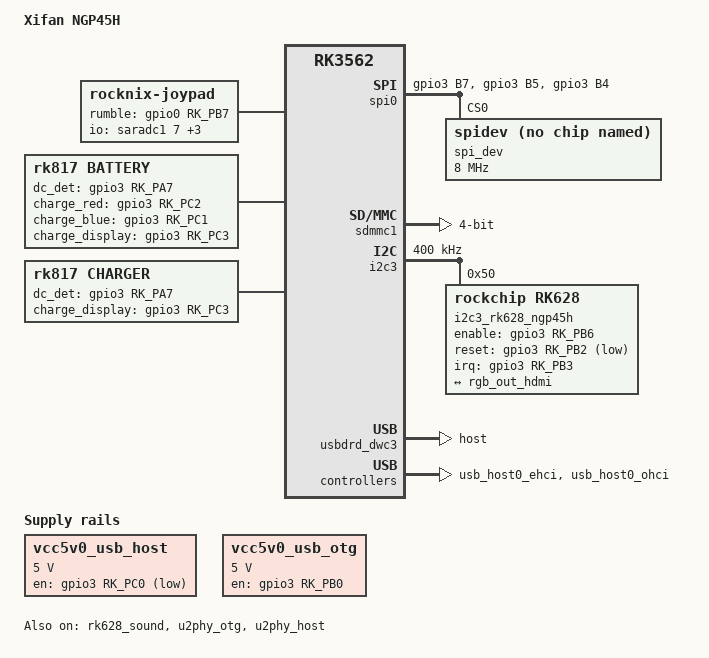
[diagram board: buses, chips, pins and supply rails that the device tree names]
// SPDX-License-Identifier: (GPL-2.0+ OR MIT)
/*
 * Copyright (c) 2024 dArkOS Contributors
 *
 * Xifan NGP45H — RK3562 gaming handheld with landscape 1024x768 DSI panel
 */

/dts-v1/;

#include "rk3562.dtsi"
#include "rk3562-linux.dtsi"
#include "rk3562-rk817.dtsi"
#include "rk3562-darkos.dtsi"

/ {
	model = "Xifan NGP45H";
	compatible = "xifan,ngp45h", "rockchip,rk3562-evb1-lp4x-v10",
		     "rockchip,rk3562";

	/*
	 * The inherited SDIO Wi-Fi description is not used on NGP45H and its
	 * control GPIOs overlap the joypad and hp-det.  The production module is
	 * an AIC8800DC USB device powered by the USB-host rail below.
	 */
	wireless-wlan {
		status = "disabled";
	};

	joypad: rocknix-joypad {
		compatible = "rocknix-joypad";
		status = "okay";

		/* Keep the standard ROCKNIX userspace identity. */
		joypad-name = "retrogame_joypad";
		joypad-product = <0x1101>;
		joypad-revision = <0x0100>;
		joypad-vendor = <0x484b>;

		/* Vendor order is LX, LY, RX, RY on SARADC1 channels 4..7. */
		io-channel-names = "key-RY", "key-RX", "key-LY", "key-LX";
		io-channels = <&saradc1 7>, <&saradc1 6>,
			      <&saradc1 5>, <&saradc1 4>;

		pinctrl-names = "default";
		pinctrl-0 = <&ngp45h_gpio_key_pin &ngp45h_rumble_pin>;
		rumble-gpio = <&gpio0 RK_PB7 GPIO_ACTIVE_HIGH>;

		/* Initial values; axis direction and tuning need real-hardware calibration. */
		button-adc-scale = <2>;
		button-adc-deadzone = <216>;
		button-adc-fuzz = <54>;
		button-adc-flat = <54>;
		abs_x-p-tuning = <180>;
		abs_x-n-tuning = <180>;
		abs_y-p-tuning = <180>;
		abs_y-n-tuning = <180>;
		abs_rx-p-tuning = <180>;
		abs_rx-n-tuning = <180>;
		abs_ry-p-tuning = <180>;
		abs_ry-n-tuning = <180>;
		invert-absy;
		invert-absry;
		poll-interval = <10>;

		/* Temporary key map: verify every GPIO and remap on the device. */
		sw1 {
			gpios = <&gpio1 RK_PD3 GPIO_ACTIVE_LOW>;
			label = "GPIO BTN_TR";
			linux,code = <BTN_TR>;
		};
		sw2 {
			gpios = <&gpio1 RK_PD4 GPIO_ACTIVE_LOW>;
			label = "GPIO BTN_TR2";
			linux,code = <BTN_TR2>;
		};
		sw3 {
			gpios = <&gpio1 RK_PD1 GPIO_ACTIVE_LOW>;
			label = "GPIO BTN_TL";
			linux,code = <BTN_TL>;
		};
		sw4 {
			gpios = <&gpio1 RK_PD2 GPIO_ACTIVE_LOW>;
			label = "GPIO BTN_TL2";
			linux,code = <BTN_TL2>;
		};
		sw5 {
			gpios = <&gpio0 RK_PC3 GPIO_ACTIVE_LOW>;
			label = "GPIO BTN-A";
			linux,code = <BTN_EAST>;
		};
		sw6 {
			gpios = <&gpio0 RK_PC5 GPIO_ACTIVE_LOW>;
			label = "GPIO BTN-B";
			linux,code = <BTN_SOUTH>;
		};
		sw7 {
			gpios = <&gpio2 RK_PA0 GPIO_ACTIVE_LOW>;
			label = "GPIO BTN-X";
			linux,code = <BTN_NORTH>;
		};
		sw8 {
			gpios = <&gpio2 RK_PA1 GPIO_ACTIVE_LOW>;
			label = "GPIO BTN-Y";
			linux,code = <BTN_WEST>;
		};
		sw9 {
			gpios = <&gpio0 RK_PB5 GPIO_ACTIVE_LOW>;
			label = "GPIO DPAD-LEFT";
			linux,code = <BTN_DPAD_LEFT>;
		};
		sw10 {
			gpios = <&gpio0 RK_PB6 GPIO_ACTIVE_LOW>;
			label = "GPIO DPAD-RIGHT";
			linux,code = <BTN_DPAD_RIGHT>;
		};
		sw11 {
			gpios = <&gpio0 RK_PB3 GPIO_ACTIVE_LOW>;
			label = "GPIO DPAD-UP";
			linux,code = <BTN_DPAD_UP>;
		};
		sw12 {
			gpios = <&gpio0 RK_PB4 GPIO_ACTIVE_LOW>;
			label = "GPIO DPAD-DOWN";
			linux,code = <BTN_DPAD_DOWN>;
		};
		sw13 {
			gpios = <&gpio0 RK_PA5 GPIO_ACTIVE_LOW>;
			label = "BTN_SELECT";
			linux,code = <BTN_SELECT>;
		};
		sw14 {
			gpios = <&gpio3 RK_PA6 GPIO_ACTIVE_LOW>;
			label = "BTN_START";
			linux,code = <BTN_START>;
		};
		sw15 {
			gpios = <&gpio1 RK_PC7 GPIO_ACTIVE_LOW>;
			label = "GPIO BTN_MODE";
			linux,code = <BTN_MODE>;
		};
		sw16 {
			gpios = <&gpio0 RK_PC6 GPIO_ACTIVE_LOW>;
			label = "BTN_THUMBL";
			linux,code = <BTN_THUMBL>;
		};
		sw17 {
			gpios = <&gpio0 RK_PC7 GPIO_ACTIVE_LOW>;
			label = "BTN_THUMBR";
			linux,code = <BTN_THUMBR>;
		};
	};

	vcc5v0_usb_host: vcc5v0-usb-host {
		compatible = "regulator-fixed";
		regulator-name = "vcc5v0_usb_host";
		regulator-min-microvolt = <5000000>;
		regulator-max-microvolt = <5000000>;
		regulator-boot-on;
		regulator-always-on;
		enable-active-low;
		gpio = <&gpio3 RK_PC0 GPIO_ACTIVE_HIGH>;
		pinctrl-names = "default";
		pinctrl-0 = <&usb_host_pwren_ngp45h>;
	};

	vcc5v0_usb_otg: vcc5v0-usb-otg {
		compatible = "regulator-fixed";
		regulator-name = "vcc5v0_usb_otg";
		regulator-min-microvolt = <5000000>;
		regulator-max-microvolt = <5000000>;
		enable-active-high;
		gpio = <&gpio3 RK_PB0 GPIO_ACTIVE_HIGH>;
		pinctrl-names = "default";
		pinctrl-0 = <&usb_otg_pwren_ngp45h>;
	};
};

/* ---- Per-device overrides ------------------------------------------------ */

/* NGP45H uses GPIO0_C7 and GPIO1_D2 as gamepad keys, not stick-LED control. */
&led_vcc {
	status = "disabled";
};

&uart1 {
	status = "disabled";
};

/*
 * The analogue-stick WS2812 LEDs are connected to SPI0 M1.  The vendor
 * pinctrl only muxes CLK and MOSI; do not use the common spi0m1_pins group,
 * since that would also claim GPIO3_C0 as MISO and conflict with USB power.
 */
&spi0 {
	pinctrl-names = "default";
	pinctrl-0 = <&spi0m1_csn0_ngp45h &spi0m1_pins_ngp45h>;
	status = "okay";

	spi_dev@0 {
		compatible = "rockchip,spidev";
		reg = <0>;
		spi-max-frequency = <8000000>;
	};
};

&sdio_pwrseq {
	status = "disabled";
};

/* GPIO0_A5 is a joypad button on NGP45H, not an SD-card power switch. */
&vcc_sd {
	status = "disabled";
};

&sdmmc0 {
	/delete-property/ vmmc-supply;
};

/* Both DW-MMC ports are wired as removable SD-card slots on the vendor DT. */
&sdmmc1 {
	/delete-property/ no-sd;
	/delete-property/ cap-sdio-irq;
	/delete-property/ keep-power-in-suspend;
	/delete-property/ mmc-pwrseq;
	/delete-property/ broken-cd;
	/delete-property/ supports-sdio;
	/delete-property/ supports-rk912;

	no-sdio;
	no-mmc;
	bus-width = <4>;
	cap-mmc-highspeed;
	cap-sd-highspeed;
	disable-wp;
	sd-uhs-sdr104;
	vqmmc-supply = <&vccio_sd>;
	pinctrl-names = "default";
	pinctrl-0 = <&sdmmc1_bus4 &sdmmc1_cmd &sdmmc1_clk &sdmmc1_det>;
	status = "okay";
};

/* NGP45H four-key resistor ladder; values are from the running vendor DT. */
&adc_keys {
	/* The vendor mapping intentionally crosses the two volume keycodes. */
	vol-up-key {
		linux,code = <KEY_VOLUMEDOWN>;
		press-threshold-microvolt = <300000>;
	};

	vol-down-key {
		linux,code = <KEY_VOLUMEUP>;
		press-threshold-microvolt = <17000>;
	};

	mute-key {
		linux,code = <KEY_MUTE>;
		label = "menu";
		press-threshold-microvolt = <600000>;
	};

	back-key {
		linux,code = <KEY_ESC>;
		label = "back";
		press-threshold-microvolt = <980000>;
	};
};

/* LCD voltage regulator — GPIO0_B0 active-high enable */
&vcc3v3_lcd_n {
	gpios = <&gpio0 RK_PB0 GPIO_ACTIVE_HIGH>;
	enable-active-high;
	pinctrl-names = "default";
	pinctrl-0 = <&lcd_powerctrl_gpio>;
	status = "okay";
};

/* DSI panel — NGP45H 1024x768 landscape panel */
&dsi {
	/* Vendor PHY rate, in Mbps per lane. */
	rockchip,lane-rate = <480>;
};

&dsi_panel {
	bpc = <8>;
	pinctrl-names = "default";
	pinctrl-0 = <&lcd_rst_gpio>;
	power-supply = <&vcc3v3_lcd_n>;
	reset-delay-ms = <100>;
	init-delay-ms = <120>;
	enable-delay-ms = <100>;
	prepare-delay-ms = <20>;
	unprepare-delay-ms = <20>;
	disable-delay-ms = <20>;

	panel-init-sequence = [
		15 00 02 ee 01
		15 00 02 ea 07
		15 00 02 eb 12
		15 00 02 0a 5e
		15 00 02 13 14
		15 00 02 17 35
		15 00 02 1d 33
		15 00 02 21 01
		15 00 02 28 28
		15 00 02 29 18
		15 00 02 2a 63
		15 00 02 2f f3
		15 00 02 ee 02
		15 00 02 39 a9
		15 00 02 00 00
		15 00 02 01 0d
		15 00 02 02 12
		15 00 02 03 08
		15 00 02 04 0e
		15 00 02 05 30
		15 00 02 06 0b
		15 00 02 07 0e
		15 00 02 08 0f
		15 00 02 09 0e
		15 00 02 0a 11
		15 00 02 0b 4e
		15 00 02 0c 14
		15 00 02 0d 1a
		15 00 02 0e 2f
		15 00 02 0f 36
		15 00 02 10 3f
		15 00 02 20 00
		15 00 02 21 0d
		15 00 02 22 12
		15 00 02 23 08
		15 00 02 24 0e
		15 00 02 25 30
		15 00 02 26 0b
		15 00 02 27 0e
		15 00 02 28 0f
		15 00 02 29 0e
		15 00 02 2a 11
		15 00 02 2b 4e
		15 00 02 2c 14
		15 00 02 2d 1a
		15 00 02 2e 2f
		15 00 02 2f 36
		15 00 02 30 3f
		15 00 02 ee 04
		15 00 02 00 05
		15 00 02 01 01
		15 00 02 02 80
		15 00 02 03 04
		15 00 02 04 00
		15 00 02 06 06
		15 00 02 07 05
		15 00 02 08 1a
		15 00 02 09 20
		15 00 02 0a 0e
		15 00 02 0b 00
		15 00 02 20 40
		15 00 02 24 08
		15 00 02 ee 05
		15 00 02 00 01
		15 00 02 01 09
		15 00 02 02 05
		15 00 02 03 05
		15 00 02 07 05
		15 00 02 08 0d
		15 00 02 09 00
		15 00 02 0a 12
		15 00 02 0b 14
		15 00 02 0c 66
		15 00 02 10 03
		15 00 02 11 07
		15 00 02 12 05
		15 00 02 13 05
		15 00 02 19 12
		15 00 02 1a f6
		15 00 02 40 55
		15 00 02 41 00
		15 00 02 43 03
		15 00 02 44 01
		15 00 02 45 81
		15 00 02 46 06
		15 00 02 47 00
		15 00 02 ee 06
		15 00 02 00 45
		15 00 02 02 01
		15 00 02 04 88
		15 00 02 06 cd
		15 00 02 08 ef
		15 00 02 09 cd
		15 00 02 0a ab
		15 00 02 0b 89
		15 00 02 0c 67
		15 00 02 0d 45
		15 00 02 0e 23
		15 00 02 0f 01
		15 00 02 ee 07
		15 00 02 00 3c
		15 00 02 01 3c
		15 00 02 02 3c
		15 00 02 03 3c
		15 00 02 04 0d
		15 00 02 05 3c
		15 00 02 06 3c
		15 00 02 07 3c
		15 00 02 08 08
		15 00 02 09 10
		15 00 02 0a 12
		15 00 02 0b 14
		15 00 02 0c 16
		15 00 02 0d 18
		15 00 02 0e 1a
		15 00 02 0f 1c
		15 00 02 10 1e
		15 00 02 11 04
		15 00 02 12 00
		15 00 02 13 3c
		15 00 02 14 0c
		15 00 02 15 3c
		15 00 02 20 3c
		15 00 02 21 3c
		15 00 02 22 3c
		15 00 02 23 3c
		15 00 02 24 0d
		15 00 02 25 3c
		15 00 02 26 3c
		15 00 02 27 3c
		15 00 02 28 08
		15 00 02 29 11
		15 00 02 2a 13
		15 00 02 2b 15
		15 00 02 2c 17
		15 00 02 2d 19
		15 00 02 2e 1b
		15 00 02 2f 1d
		15 00 02 30 1f
		15 00 02 31 05
		15 00 02 32 01
		15 00 02 33 3c
		15 00 02 34 0c
		15 00 02 35 3c
		15 00 02 ee 08
		15 00 02 10 00
		15 00 02 12 dc
		15 00 02 13 1c
		15 00 02 17 23
		15 00 02 18 20
		15 00 02 20 80
		15 00 02 ee 0f
		15 00 02 00 01
		15 00 02 01 00
		15 00 02 ee 00
		15 00 02 ea 00
		15 00 02 eb 00
		15 00 02 36 00
		05 c8 01 11
		05 14 01 29
	];
};

/*
 * Panel dimensions from the NGP45H vendor device tree.
 */
&dsi_panel {
	width-mm = <68>;
	height-mm = <121>;
};

/* Display timing from the NGP45H vendor device tree */
&dsi_timing0 {
	clock-frequency = <52000000>;
	hactive = <1024>;
	vactive = <768>;
	hfront-porch = <32>;
	hsync-len = <20>;
	hback-porch = <20>;
	vfront-porch = <8>;
	vsync-len = <4>;
	vback-porch = <6>;
	hsync-active = <0>;
	vsync-active = <0>;
	de-active = <0>;
	pixelclk-active = <0>;
};

/* RK817 codec and external speaker amplifier from the vendor tree. */
&rk817_codec {
	hp-volume = <15>;
	spk-volume = <11>;
	spk-ctl-gpios = <&gpio0 RK_PA7 GPIO_ACTIVE_HIGH>;
	/delete-property/ mic-in-differential;
	/delete-property/ hp2extamplifier;
};

&rk817_sound {
	hp-det-gpio = <&gpio0 RK_PA6 GPIO_ACTIVE_HIGH>;
	pinctrl-0 = <&hp_det_ngp45h>;
	/delete-property/ spk-con-gpios;
	/delete-property/ io-channels;
	/delete-property/ io-channel-names;
	/delete-property/ keyup-threshold-microvolt;
	/delete-property/ poll-interval;
	/delete-node/ play-pause-key;
};

/* The common board uses I2C4; NGP45H wires its RK628 to I2C3 instead. */
&i2c4 {
	status = "disabled";
};

&i2c4_rk628 {
	status = "disabled";
};

/* Disconnect the disabled common RK628 endpoint before wiring the I2C3 one. */
&rgb_in_hdmi {
	/delete-property/ remote-endpoint;
};

&i2c3 {
	status = "okay";
	clock-frequency = <400000>;

	i2c3_rk628_ngp45h: rk628@50 {
		compatible = "rockchip,rk628";
		reg = <0x50>;
		status = "okay";
		#sound-dai-cells = <0>;

		assigned-clocks = <&cru CLK_PMU1_WIFI>;
		assigned-clock-rates = <24000000>;
		clocks = <&cru CLK_PMU1_WIFI>;
		clock-names = "soc_24M";

		interrupt-parent = <&gpio3>;
		interrupts = <RK_PB3 IRQ_TYPE_LEVEL_HIGH>;
		enable-gpios = <&gpio3 RK_PB6 GPIO_ACTIVE_HIGH>;
		reset-gpios = <&gpio3 RK_PB2 GPIO_ACTIVE_LOW>;
		pinctrl-names = "default";
		pinctrl-0 = <&rk628_reset_ngp45h &refclk_pins>;

		rk628-rgb-in;
		rk628-hdmi-out;
		mode-sync-pol = <0>;

		port {
			rk628_rgb_in_ngp45h: endpoint {
				remote-endpoint = <&rgb_out_hdmi>;
			};
		};
	};
};

&rgb_out_hdmi {
	remote-endpoint = <&rk628_rgb_in_ngp45h>;
};

&route_rgb {
	bridge = <&i2c3_rk628_ngp45h>;
};

&rk628_sound {
	status = "okay";

	simple-audio-card,codec {
		sound-dai = <&i2c3_rk628_ngp45h>;
	};
};

/* NGP45H exposes both USB2 controller paths as host ports. */
&u2phy_otg {
	vbus-supply = <&vcc5v0_usb_otg>;
	status = "okay";
};

&u2phy_host {
	phy-supply = <&vcc5v0_usb_host>;
	status = "okay";
};

&usbdrd_dwc3 {
	dr_mode = "host";
	status = "okay";
};

&usb_host0_ehci {
	status = "okay";
};

&usb_host0_ohci {
	status = "okay";
};

/* RK817 PMIC — battery and charger parameters */
&rk817 {
	battery {
		compatible = "rk817,battery";
		ocv_table = <3500 3539 3608 3694 3767 3806 3829 3844
			     3856 3863 3869 3882 3930 4003 4010 4023
			     4033 4045 4059 4070 4171>;
		design_capacity = <3791>;
		design_qmax = <4000>;
		bat_res = <127>;
		design_max_voltage = <4120>;
		sleep_enter_current = <150>;
		sleep_exit_current = <180>;
		sleep_filter_current = <100>;
		power_off_thresd = <3450>;
		zero_algorithm_vol = <3950>;
		max_soc_offset = <60>;
		monitor_sec = <5>;
		sample_res = <10>;
		virtual_power = <0>;
		dc_det_gpio = <&gpio3 RK_PA7 GPIO_ACTIVE_HIGH>;
		charge_red_gpio = <&gpio3 RK_PC2 GPIO_ACTIVE_HIGH>;
		charge_blue_gpio = <&gpio3 RK_PC1 GPIO_ACTIVE_HIGH>;
		charge_display_gpio = <&gpio3 RK_PC3 GPIO_ACTIVE_HIGH>;
	};

	charger {
		compatible = "rk817,charger";
		min_input_voltage = <4500>;
		max_input_current = <2500>;
		max_chrg_current = <2500>;
		max_chrg_voltage = <4350>;
		chrg_term_mode = <0>;
		chrg_finish_cur = <300>;
		virtual_power = <0>;
		dc_det_adc = <0>;
		dc_det_gpio = <&gpio3 RK_PA7 GPIO_ACTIVE_HIGH>;
		charge_display_gpio = <&gpio3 RK_PC3 GPIO_ACTIVE_HIGH>;
		extcon = <&u2phy>;
		gate_function_disable = <1>;
	};
};

/* ---- Per-device pinctrl additions ---------------------------------------- */

&pinctrl {
	spi0-ngp45h {
		spi0m1_csn0_ngp45h: spi0m1-csn0-ngp45h {
			rockchip,pins =
				<3 RK_PB7 4 &pcfg_pull_up_drv_level_4>;
		};

		spi0m1_pins_ngp45h: spi0m1-pins-ngp45h {
			rockchip,pins =
				<3 RK_PB5 4 &pcfg_pull_up_drv_level_4>,
				<3 RK_PB4 4 &pcfg_pull_down_drv_level_4>;
		};
	};

	headphone {
		hp_det_ngp45h: hp-det-ngp45h {
			rockchip,pins = <0 RK_PA6 RK_FUNC_GPIO &pcfg_pull_none>;
		};
	};

	lcd {
		lcd_powerctrl_gpio: lcd-powerctrl-gpio {
			rockchip,pins = <0 RK_PB0 RK_FUNC_GPIO &pcfg_pull_none>;
		};
	};

	usb {
		usb_host_pwren_ngp45h: usb-host-pwren-ngp45h {
			rockchip,pins = <3 RK_PC0 RK_FUNC_GPIO &pcfg_pull_none>;
		};

		usb_otg_pwren_ngp45h: usb-otg-pwren-ngp45h {
			rockchip,pins = <3 RK_PB0 RK_FUNC_GPIO &pcfg_pull_none>;
		};
	};

	rk628-ngp45h {
		rk628_reset_ngp45h: rk628-reset-ngp45h {
			rockchip,pins = <3 RK_PB2 RK_FUNC_GPIO &pcfg_pull_none>;
		};
	};

	rumble-ngp45h {
		ngp45h_rumble_pin: ngp45h-rumble-pin {
			/* Pull low keeps the active-high motor off before probe. */
			rockchip,pins = <0 RK_PB7 RK_FUNC_GPIO &pcfg_pull_down>;
		};
	};

	buttons {
		ngp45h_gpio_key_pin: ngp45h-gpio-key-pin {
			rockchip,pins =
				<1 RK_PD3 RK_FUNC_GPIO &pcfg_pull_up>,
				<1 RK_PD4 RK_FUNC_GPIO &pcfg_pull_up>,
				<1 RK_PD1 RK_FUNC_GPIO &pcfg_pull_up>,
				<1 RK_PD2 RK_FUNC_GPIO &pcfg_pull_up>,
				<0 RK_PC3 RK_FUNC_GPIO &pcfg_pull_up>,
				<0 RK_PC5 RK_FUNC_GPIO &pcfg_pull_up>,
				<2 RK_PA0 RK_FUNC_GPIO &pcfg_pull_up>,
				<2 RK_PA1 RK_FUNC_GPIO &pcfg_pull_up>,
				<0 RK_PB5 RK_FUNC_GPIO &pcfg_pull_up>,
				<0 RK_PB6 RK_FUNC_GPIO &pcfg_pull_up>,
				<0 RK_PB3 RK_FUNC_GPIO &pcfg_pull_up>,
				<0 RK_PB4 RK_FUNC_GPIO &pcfg_pull_up>,
				<0 RK_PA5 RK_FUNC_GPIO &pcfg_pull_up>,
				<3 RK_PA6 RK_FUNC_GPIO &pcfg_pull_up>,
				<1 RK_PC7 RK_FUNC_GPIO &pcfg_pull_up>,
				<0 RK_PC6 RK_FUNC_GPIO &pcfg_pull_up>,
				<0 RK_PC7 RK_FUNC_GPIO &pcfg_pull_up>,
				<0 RK_PB7 RK_FUNC_GPIO &pcfg_pull_up>;
		};
	};
};
